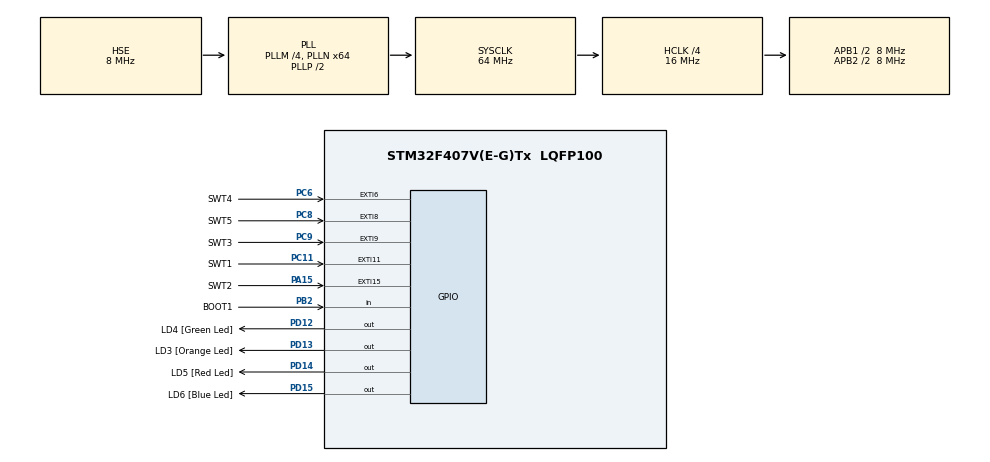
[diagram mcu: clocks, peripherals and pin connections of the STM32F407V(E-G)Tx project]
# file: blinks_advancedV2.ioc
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Mcu.Family=STM32F4
Mcu.Name=STM32F407V(E-G)Tx
Mcu.Package=LQFP100
NVIC.EXTI15_10_IRQn=true\:0\:0\:false\:false\:true\:true\:true
NVIC.EXTI9_5_IRQn=true\:0\:0\:false\:false\:true\:true\:true
NVIC.PriorityGroup=NVIC_PRIORITYGROUP_0
PA13.GPIO_Label=SWDIO
PA13.Signal=SYS_JTMS-SWDIO
PA14.GPIO_Label=SWCLK
PA14.Signal=SYS_JTCK-SWCLK
PA15.GPIO_Label=SWT2
PA15.Signal=GPXTI15
PB2.GPIO_Label=BOOT1
PB2.GPIO_Mode=GPIO_MODE_INPUT
PB2.GPIO_PuPd=GPIO_NOPULL
PB2.Signal=GPIO_Input
PB3.GPIO_Label=SWO
PB3.Signal=SYS_JTDO-SWO
PC11.GPIO_Label=SWT1
PC11.Signal=GPXTI11
PC14-OSC32_IN.GPIO_Label=PC14-OSC32_IN
PC14-OSC32_IN.Signal=RCC_OSC32_IN
PC15-OSC32_OUT.GPIO_Label=PC15-OSC32_OUT
PC15-OSC32_OUT.Signal=RCC_OSC32_OUT
PC6.GPIO_Label=SWT4
PC6.Signal=GPXTI6
PC8.GPIO_Label=SWT5
PC8.Signal=GPXTI8
PC9.GPIO_Label=SWT3
PC9.Signal=GPXTI9
PD12.GPIO_Label=LD4 [Green Led]
PD12.GPIO_PuPd=GPIO_NOPULL
PD12.GPIO_Speed=GPIO_SPEED_FREQ_LOW
PD12.Signal=GPIO_Output
PD13.GPIO_Label=LD3 [Orange Led]
PD13.GPIO_PuPd=GPIO_NOPULL
PD13.GPIO_Speed=GPIO_SPEED_FREQ_LOW
PD13.Signal=GPIO_Output
PD14.GPIO_Label=LD5 [Red Led]
PD14.GPIO_PuPd=GPIO_NOPULL
PD14.GPIO_Speed=GPIO_SPEED_FREQ_LOW
PD14.Signal=GPIO_Output
PD15.GPIO_Label=LD6 [Blue Led]
PD15.GPIO_PuPd=GPIO_NOPULL
PD15.GPIO_Speed=GPIO_SPEED_FREQ_LOW
PD15.Signal=GPIO_Output
PH0-OSC_IN.GPIO_Label=PH0-OSC_IN
PH0-OSC_IN.Mode=HSE-External-Oscillator
PH0-OSC_IN.Signal=RCC_OSC_IN
PH1-OSC_OUT.GPIO_Label=PH1-OSC_OUT
PH1-OSC_OUT.Mode=HSE-External-Oscillator
PH1-OSC_OUT.Signal=RCC_OSC_OUT
ProjectManager.HeapSize=0x200
ProjectManager.StackSize=0x400
ProjectManager.TargetToolchain=STM32CubeIDE
RCC.48MHZClocksFreq_Value=18285714.285714287
RCC.AHBCLKDivider=RCC_SYSCLK_DIV4
RCC.AHBFreq_Value=16000000
RCC.APB1CLKDivider=RCC_HCLK_DIV2
RCC.APB1Freq_Value=8000000
RCC.APB1TimFreq_Value=16000000
RCC.APB2CLKDivider=RCC_HCLK_DIV2
RCC.APB2Freq_Value=8000000
RCC.APB2TimFreq_Value=16000000
RCC.CortexFreq_Value=16000000
RCC.HCLKFreq_Value=16000000
RCC.HSE_VALUE=8000000
RCC.HSI_VALUE=16000000
RCC.LSE_VALUE=32768
RCC.PLLM=4
RCC.PLLN=64
RCC.PLLQ=7
RCC.PLLSourceVirtual=RCC_PLLSOURCE_HSE
RCC.SYSCLKFreq_VALUE=64000000
RCC.SYSCLKSource=RCC_SYSCLKSOURCE_PLLCLK
RCC.VCOOutputFreq_Value=128000000
board=STM32F407G-DISC1

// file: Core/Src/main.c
/* USER CODE BEGIN Header */
/**
  ******************************************************************************
  * @file           : main.c
  * @brief          : Main program body
  ******************************************************************************
  * @attention
  *
  * <h2><center>&copy; Copyright (c) 2021 STMicroelectronics.
  * All rights reserved.</center></h2>
  *
  * This software component is licensed by ST under BSD 3-Clause license,
  * the "License"; You may not use this file except in compliance with the
  * License. You may obtain a copy of the License at:
  *                        opensource.org/licenses/BSD-3-Clause
  *
  ******************************************************************************
  */
/* USER CODE END Header */
#include "main.h"
#include "gpio.h"

/* USER CODE BEGIN Includes */
uint8_t mode1[3] = {0b00001111, 0b00001111, 1};																				//Blink pattern for mode 1, last value - delay prescaler
uint8_t mode2[5] = {0b00000101, 0b00001111, 0b00001010, 0b00001010, 1};														//Blink pattern for mode 2, last value - delay prescaler
uint8_t mode3[9] = {0b00000001, 0b00000010, 0b00000100, 0b00001000, 0b00000001, 0b00000010, 0b00000100, 0b00001000, 8};		//Blink pattern for mode 3, last value - delay prescaler
uint8_t mode4[9] = {0b00000001, 0b00000010, 0b00001000, 0b00000100, 0b00000001, 0b00000010, 0b00001000, 0b00000100, 8};		//Blink pattern for mode 4, last value - delay prescaler
/* USER CODE END Includes */

/* USER CODE BEGIN PM */
void mode_1(void);
void mode_2(void);
void mode_3(void);
void mode_4(void);
/* USER CODE END PM */

/* USER CODE BEGIN PV */
uint32_t delay = 500;
uint8_t mode = 0;

/* USER CODE END PV */

void SystemClock_Config(void);
/* USER CODE BEGIN PFP */
void do_some_magic(uint8_t arr[], uint8_t elements);
/* USER CODE END PFP */

int main(void)
{

  /* MCU Configuration--------------------------------------------------------*/

  /* Reset of all peripherals, Initializes the Flash interface and the Systick. */
  HAL_Init();

  /* Configure the system clock */
  SystemClock_Config();

  /* Initialize all configured peripherals */
  MX_GPIO_Init();

  /* Infinite loop */
  /* USER CODE BEGIN WHILE */
  while (1)
  {
	  switch(mode){
	  case 1:
		  do_some_magic(mode1, sizeof(mode1));
		  break;
	  case 2:
		  do_some_magic(mode2, sizeof(mode2));
		  break;
	  case 3:
		  do_some_magic(mode3, sizeof(mode3));
		  break;
	  case 4:
		  do_some_magic(mode4, sizeof(mode4));
		  break;
	  default:
		  break;
	  }
    /* USER CODE END WHILE */

  }
}

void SystemClock_Config(void)
{
  RCC_OscInitTypeDef RCC_OscInitStruct = {0};
  RCC_ClkInitTypeDef RCC_ClkInitStruct = {0};

  /** Configure the main internal regulator output voltage
  */
  __HAL_RCC_PWR_CLK_ENABLE();
  __HAL_PWR_VOLTAGESCALING_CONFIG(PWR_REGULATOR_VOLTAGE_SCALE1);
  /** Initializes the RCC Oscillators according to the specified parameters
  * in the RCC_OscInitTypeDef structure.
  */
  RCC_OscInitStruct.OscillatorType = RCC_OSCILLATORTYPE_HSE;
  RCC_OscInitStruct.HSEState = RCC_HSE_ON;
  RCC_OscInitStruct.PLL.PLLState = RCC_PLL_ON;
  RCC_OscInitStruct.PLL.PLLSource = RCC_PLLSOURCE_HSE;
  RCC_OscInitStruct.PLL.PLLM = 4;
  RCC_OscInitStruct.PLL.PLLN = 64;
  RCC_OscInitStruct.PLL.PLLP = RCC_PLLP_DIV2;
  RCC_OscInitStruct.PLL.PLLQ = 7;
  if (HAL_RCC_OscConfig(&RCC_OscInitStruct) != HAL_OK)
  {
    Error_Handler();
  }
  /** Initializes the CPU, AHB and APB buses clocks
  */
  RCC_ClkInitStruct.ClockType = RCC_CLOCKTYPE_HCLK|RCC_CLOCKTYPE_SYSCLK
                              |RCC_CLOCKTYPE_PCLK1|RCC_CLOCKTYPE_PCLK2;
  RCC_ClkInitStruct.SYSCLKSource = RCC_SYSCLKSOURCE_PLLCLK;
  RCC_ClkInitStruct.AHBCLKDivider = RCC_SYSCLK_DIV4;
  RCC_ClkInitStruct.APB1CLKDivider = RCC_HCLK_DIV2;
  RCC_ClkInitStruct.APB2CLKDivider = RCC_HCLK_DIV2;

  if (HAL_RCC_ClockConfig(&RCC_ClkInitStruct, FLASH_LATENCY_0) != HAL_OK)
  {
    Error_Handler();
  }
}

/* USER CODE BEGIN 4 */
void do_some_magic(uint8_t arr[], uint8_t elements){										//Receive array and size of array
	GPIOD->ODR &= ~(GPIOD->ODR);															//Reset ODR register for sure
	uint8_t delay_prescaller = arr[elements-1];												//Copy prescaler value from array to local variable
	for(uint8_t i = 0; i < elements-1; i++){
		GPIOD->ODR ^= (arr[i] << 12);
		HAL_Delay(delay/delay_prescaller);
	}
}

/* USER CODE END 4 */

void Error_Handler(void)
{
  __disable_irq();
  while (1)
  {
  }
}

/************************ (C) COPYRIGHT STMicroelectronics *****END OF FILE****/
